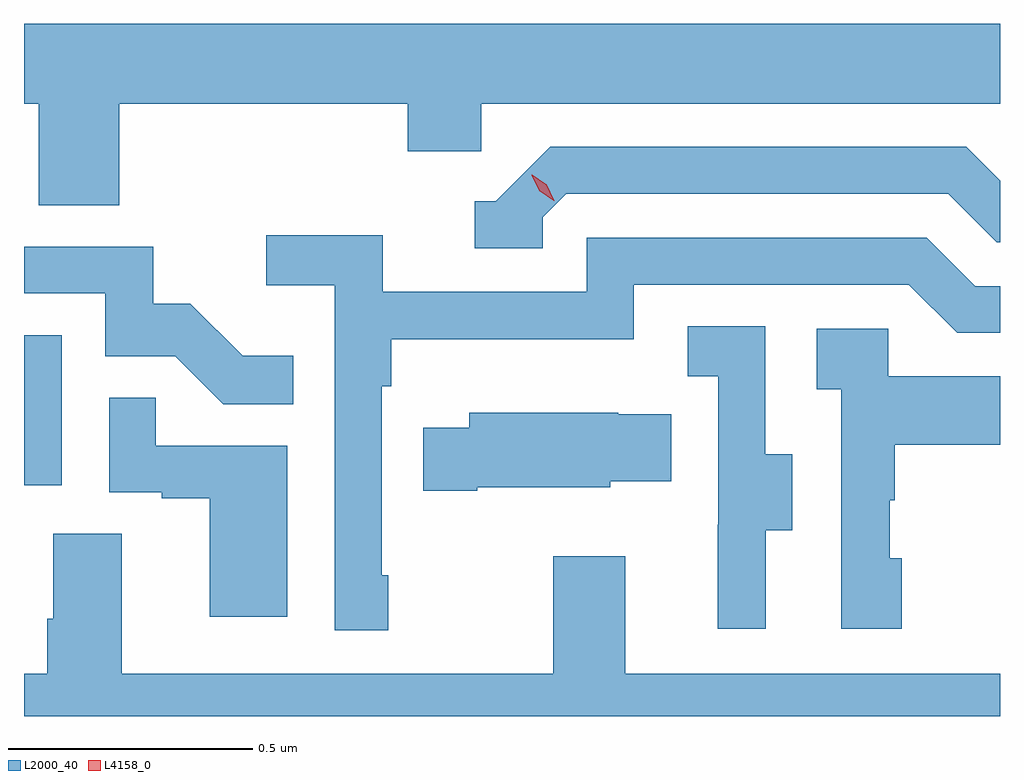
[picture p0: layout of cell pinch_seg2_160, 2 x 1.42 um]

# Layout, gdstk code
import gdstk
lib = gdstk.Library(unit=1e-6, precision=1e-09)
def R(c, l, rs):  # rectangles x0, y0, x1, y1
    for r in rs: c.add(gdstk.rectangle(r[:2], r[2:], *l))
def P(c, l, *ps):  # polygons
    for p in ps: c.add(gdstk.Polygon(p, *l))
L2000_40 = (2000, 40)
L4158_0 = (4158, 0)

pinch_seg2_160 = lib.new_cell('pinch_seg2_160')
R(pinch_seg2_160, L2000_40, [(1124.669,630.87,1124.746,631.177)])
P(pinch_seg2_160, L2000_40, [(1124.864,631.652),(1125.455,631.652),(1125.455,631.554),(1125.606,631.554),(1125.606,631.652),(1126.669,631.652),(1126.669,631.816),(1124.669,631.816),(1124.669,631.652),(1124.699,631.652),(1124.699,631.444),(1124.864,631.444)],
  [(1125.732,631.419),(1125.78,631.467),(1126.563,631.467),(1126.662,631.368),(1126.669,631.368),(1126.669,631.494),(1126.6,631.563),(1125.747,631.563),(1125.636,631.452),(1125.593,631.452),(1125.593,631.356),(1125.732,631.356)],
  [(1125.415,630.685),(1125.402,630.685),(1125.402,631.073),(1125.422,631.073),(1125.422,631.169),(1125.918,631.169),(1125.918,631.281),(1126.482,631.281),(1126.581,631.182),(1126.669,631.182),(1126.669,631.278),(1126.618,631.278),(1126.519,631.377),(1125.822,631.377),(1125.822,631.266),(1125.404,631.266),(1125.404,631.382),(1125.165,631.382),(1125.165,631.28),(1125.306,631.28),(1125.306,630.573),(1125.415,630.573)],
  [(1125.221,631.135),(1125.117,631.135),(1125.01,631.242),(1124.934,631.242),(1124.934,631.359),(1124.669,631.359),(1124.669,631.263),(1124.835,631.263),(1124.835,631.134),(1124.979,631.134),(1125.077,631.036),(1125.221,631.036)],
  [(1126.189,630.778),(1126.243,630.778),(1126.243,630.933),(1126.188,630.933),(1126.188,631.196),(1126.029,631.196),(1126.029,631.093),(1126.092,631.093),(1126.092,630.789),(1126.091,630.789),(1126.091,630.576),(1126.189,630.576)],
  [(1126.468,630.72),(1126.443,630.72),(1126.443,630.839),(1126.453,630.839),(1126.453,630.953),(1126.669,630.953),(1126.669,631.093),(1126.44,631.093),(1126.44,631.191),(1126.293,631.191),(1126.293,631.067),(1126.344,631.067),(1126.344,630.576),(1126.468,630.576)],
  [(1125.208,630.951),(1124.939,630.951),(1124.939,631.049),(1124.844,631.049),(1124.844,630.855),(1124.951,630.855),(1124.951,630.843),(1125.05,630.843),(1125.05,630.6),(1125.208,630.6)],
  [(1125.598,630.866),(1125.87,630.866),(1125.87,630.878),(1125.995,630.878),(1125.995,631.015),(1125.887,631.015),(1125.887,631.018),(1125.581,631.018),(1125.581,630.988),(1125.487,630.988),(1125.487,630.859),(1125.598,630.859)],
  [(1126.669,630.484),(1125.901,630.484),(1125.901,630.724),(1125.754,630.724),(1125.754,630.484),(1124.869,630.484),(1124.869,630.77),(1124.729,630.77),(1124.729,630.596),(1124.717,630.596),(1124.717,630.484),(1124.669,630.484),(1124.669,630.396),(1126.669,630.396)])
P(pinch_seg2_160, L4158_0, [(1125.755,631.453),(1125.725,631.473),(1125.709,631.505),(1125.709,631.506),(1125.71,631.506),(1125.74,631.486),(1125.756,631.453),(1125.756,631.453)])

lib.write_gds('pinch_seg2_160.gds')
